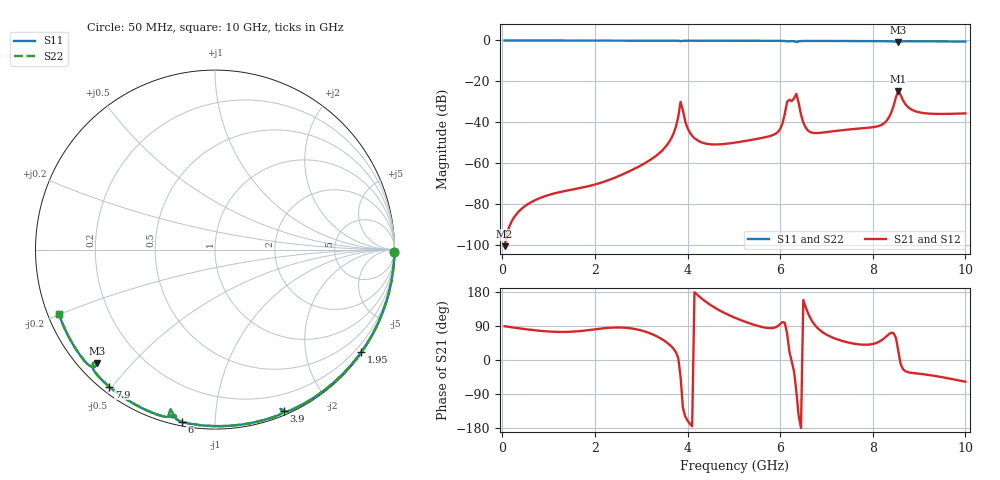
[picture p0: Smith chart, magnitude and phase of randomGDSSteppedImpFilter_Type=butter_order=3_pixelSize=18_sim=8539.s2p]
! freq	dB(S11)	phase(S11)	dB(S12)	phase(S12)
!  dB(S21)	phase(S21)	dB(S22)	phase(S22)
!S-par simulation data
#  GHz  S  DB  R 50
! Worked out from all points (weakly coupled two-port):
!   200 points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, 50 MHz to 10 GHz, reference 50 ohm
!   highest |S21| = -24.98 dB at 8.55 GHz (marker M1); lowest = -100.7 dB at 50 MHz (marker M2)
!   lowest |S11| = -0.8 dB at 8.55 GHz (marker M3), VSWR 21.76, Z = 2.67 - j20.1 ohm
!   |S11| at or under -10 dB: nowhere
!   |S22| runs from -0.8 to 0.0 dB; largest |S21 - S12| = 0
!   S11 on the Smith chart (normalised r, x): 50 MHz: open; 1.95 GHz: 0.03, -3.18; 3.9 GHz: 0.04, -1.52; 6 GHz: 0.02, -0.82; 7.9 GHz: 0.02, -0.49; 10 GHz: 0.03, -0.20
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0.05  -0.00 -0.9  -100.68 89.2  -100.68 89.2  -0.00 -0.9
0.55  -0.01 -10.0  -80.13 80.5  -80.13 80.5  -0.01 -10.0
1.75  -0.04 -31.4  -71.87 77.2  -71.87 77.2  -0.04 -31.4
1.95  -0.04 -34.9  -70.81 80.2  -70.81 80.2  -0.04 -34.9
3.4  -0.08 -59.7  -54.98 58.4  -54.98 58.4  -0.08 -59.7
3.7  -0.09 -64.8  -45.43 29.2  -45.43 29.2  -0.09 -64.8
3.85  -0.36 -67.7  -30.04 -44.9  -30.04 -44.9  -0.36 -67.7
3.9  -0.20 -66.8  -34.12 -125.9  -34.12 -125.9  -0.20 -66.8
4  -0.11 -69.0  -42.89 -159.9  -42.89 -159.9  -0.11 -69.0
4.25  -0.11 -73.2  -49.33 167.8  -49.33 167.8  -0.11 -73.2
5.05  -0.13 -85.9  -49.92 110.2  -49.92 110.2  -0.13 -85.9
6  -0.20 -101.0  -43.34 94.8  -43.34 94.8  -0.20 -101.0
6.15  -0.45 -103.4  -30.04 70.0  -30.04 70.0  -0.45 -103.4
6.35  -0.70 -105.5  -26.14 -83.3  -26.14 -83.3  -0.70 -105.5
6.5  -0.26 -106.4  -40.18 158.3  -40.18 158.3  -0.26 -106.4
6.7  -0.23 -109.9  -45.20 100.6  -45.20 100.6  -0.23 -109.9
7.9  -0.31 -127.7  -42.71 40.5  -42.71 40.5  -0.31 -127.7
8.35  -0.40 -134.6  -37.61 68.4  -37.61 68.4  -0.40 -134.6
8.55  -0.80 -136.0  -24.98 23.6  -24.98 23.6  -0.80 -136.0
8.75  -0.40 -138.7  -32.37 -31.9  -32.37 -31.9  -0.40 -138.7
8.95  -0.40 -142.0  -34.87 -35.5  -34.87 -35.5  -0.40 -142.0
10  -0.53 -157.5  -35.69 -57.4  -35.69 -57.4  -0.53 -157.5
